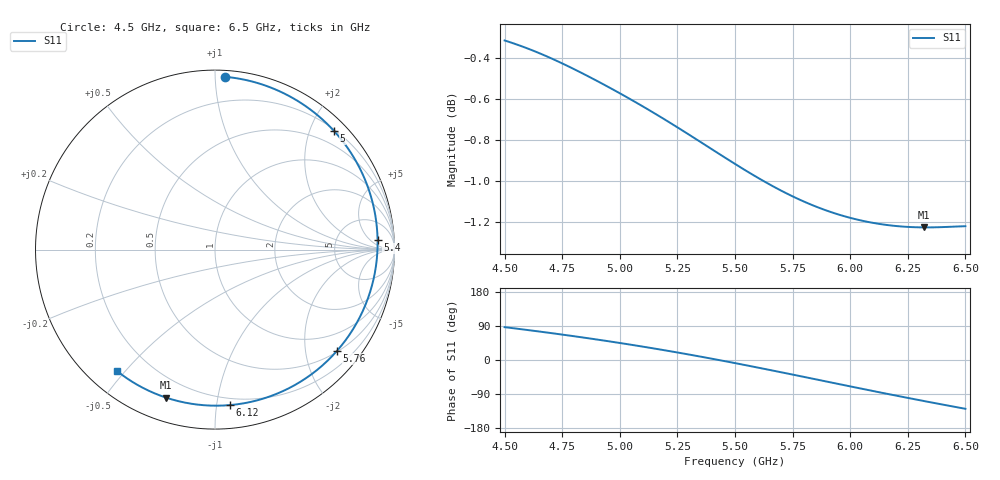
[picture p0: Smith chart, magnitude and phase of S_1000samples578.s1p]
! TOUCHSTONE file generated by CST MICROWAVE STUDIO
! Date and time: Fri Oct 28 16:09:30 2022
! Project name: L.cst
! Parameters = {Di=1.27; Epsilon_r=1.56; InnerDiameter=1.27; Length=2; Lf=10; Lg=60; OuterConductorThickness=0.2921; OuterDiameter=3.6; Wf=3; Wp=41.2; de=1.5; df=6.8; g=0.8; gx=4.91657; gy=1.25139; h=2.34; hf=1.524; px=8.74085; py=9.08524; w=9.7; wx=3.82429; wy=7.83385}
! Header version: 2018
! Port assignment regex: !\s*Touchstone port\s*([0-9]+)\s*=\s*(CST MWS port|CST DS port)\s*([0-9]+|Zmin|Zmax)\s*\(\"(.*)\"\)(\s*mode\s*([0-9]+))?.*
! Touchstone port assignment:
! Touchstone port 1 = CST MWS port 1 ("")
# GHz S DB R 50
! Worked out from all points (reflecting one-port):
!   101 points, 4.5 GHz to 6.5 GHz, reference 50 ohm
!   lowest |S11| = -1.2 dB at 6.32 GHz (marker M1), VSWR 14.22, Z = 5.34 - j35.9 ohm
!   phase of S11 starts at 87 deg and turns -215 deg over the sweep
!   S11 on the Smith chart (normalised r, x): 4.5 GHz: 0.04, +1.06; 5 GHz: 0.22, +2.40; 5.4 GHz: 15, +9; 5.76 GHz: 0.52, -2.68; 6.12 GHz: 0.15, -1.09; 6.5 GHz: 0.09, -0.48
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4.5  -0.32 86.7
4.58  -0.35 80.6
4.64  -0.37 76.0
4.76  -0.43 66.2
4.88  -0.50 55.9
5  -0.57 44.9
5.06  -0.61 39.2
5.14  -0.66 31.2
5.2  -0.70 25.1
5.26  -0.74 18.8
5.34  -0.80 10.1
5.4  -0.84 3.3
5.5  -0.92 -8.2
5.56  -0.96 -15.3
5.62  -1.00 -22.5
5.68  -1.03 -29.8
5.76  -1.08 -39.7
5.82  -1.11 -47.2
5.88  -1.13 -54.7
5.94  -1.16 -62.1
6  -1.18 -69.6
6.06  -1.19 -77.0
6.12  -1.21 -84.4
6.18  -1.21 -91.6
6.26  -1.22 -101.2
6.32  -1.22 -108.2
6.4  -1.22 -117.5
6.5  -1.22 -128.8
